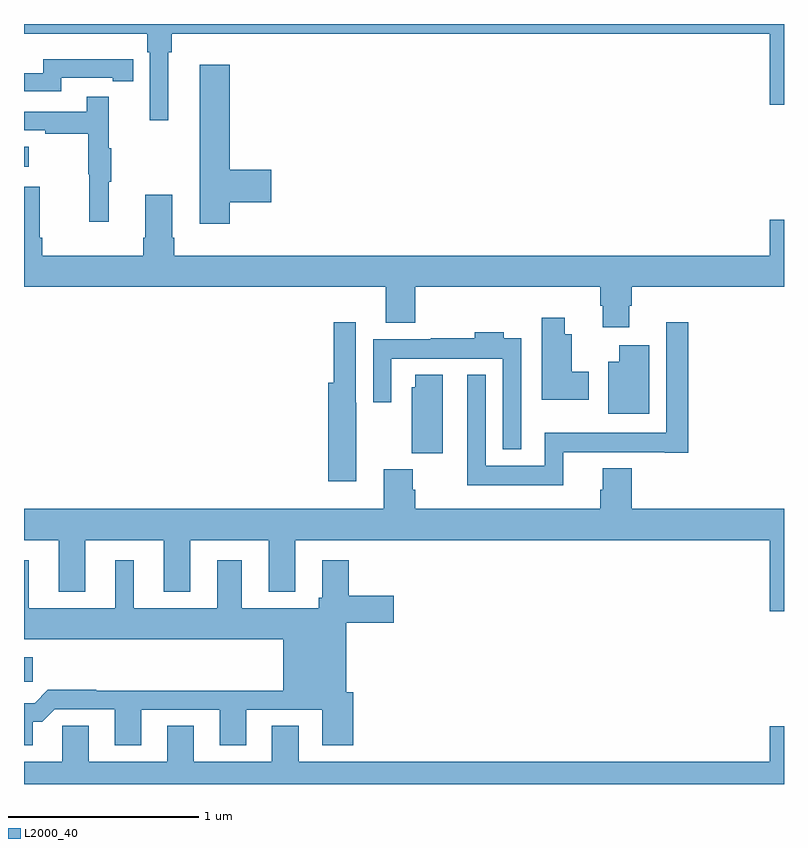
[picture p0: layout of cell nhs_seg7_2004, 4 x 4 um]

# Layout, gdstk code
import gdstk
lib = gdstk.Library(unit=1e-6, precision=1e-09)
def R(c, l, rs):  # rectangles x0, y0, x1, y1
    for r in rs: c.add(gdstk.rectangle(r[:2], r[2:], *l))
def P(c, l, *ps):  # polygons
    for p in ps: c.add(gdstk.Polygon(p, *l))
L2000_40 = (2000, 40)

nhs_seg7_2004 = lib.new_cell('nhs_seg7_2004')
R(nhs_seg7_2004, L2000_40, [(245,998.539,245.047,998.668), (245,1001.249,245.026,1001.353)])
P(nhs_seg7_2004, L2000_40, [(248.924,1001.574),(249,1001.574),(249,1002),(245,1002),(245,1001.948),(245.648,1001.948),(245.648,1001.852),(245.661,1001.852),(245.661,1001.493),(245.758,1001.493),(245.758,1001.852),(245.777,1001.852),(245.777,1001.948),(248.924,1001.948)],
  [(245.196,1001.718),(245.468,1001.718),(245.468,1001.698),(245.576,1001.698),(245.576,1001.814),(245.468,1001.814),(245.468,1001.815),(245.1,1001.815),(245.1,1001.742),(245,1001.742),(245,1001.646),(245.196,1001.646)],
  [(246.083,1001.063),(246.301,1001.063),(246.301,1001.234),(246.083,1001.234),(246.083,1001.785),(245.924,1001.785),(245.924,1000.95),(246.083,1000.95)],
  [(245.447,1001.171),(245.458,1001.171),(245.458,1001.345),(245.447,1001.345),(245.447,1001.617),(245.329,1001.617),(245.329,1001.538),(245,1001.538),(245,1001.442),(245.113,1001.442),(245.113,1001.422),(245.337,1001.422),(245.337,1001.208),(245.344,1001.208),(245.344,1000.959),(245.447,1000.959)],
  [(248.185,1000.518),(248.198,1000.518),(248.198,1000.616),(249,1000.616),(249,1000.969),(248.924,1000.969),(248.924,1000.78),(245.792,1000.78),(245.792,1000.876),(245.779,1000.876),(245.779,1001.101),(245.639,1001.101),(245.639,1000.876),(245.627,1000.876),(245.627,1000.78),(245.096,1000.78),(245.096,1000.876),(245.083,1000.876),(245.083,1001.143),(245,1001.143),(245,1000.616),(246.905,1000.616),(246.905,1000.427),(247.058,1000.427),(247.058,1000.616),(248.033,1000.616),(248.033,1000.518),(248.045,1000.518),(248.045,1000.404),(248.185,1000.404)],
  [(247.972,1000.17),(247.882,1000.17),(247.882,1000.366),(247.846,1000.366),(247.846,1000.453),(247.724,1000.453),(247.724,1000.022),(247.972,1000.022)],
  [(247.838,999.746),(248.372,999.746),(248.372,999.744),(248.495,999.744),(248.495,1000.429),(248.379,1000.429),(248.379,999.85),(247.74,999.85),(247.74,999.676),(247.431,999.676),(247.431,1000.153),(247.334,1000.153),(247.334,999.572),(247.838,999.572)],
  [(246.748,1000.007),(246.747,1000.007),(246.747,1000.429),(246.631,1000.429),(246.631,1000.111),(246.602,1000.111),(246.602,999.594),(246.748,999.594)],
  [(247.617,1000.345),(247.525,1000.345),(247.525,1000.378),(247.373,1000.378),(247.373,1000.345),(247.141,1000.345),(247.141,1000.342),(246.837,1000.342),(246.837,1000.008),(246.933,1000.008),(246.933,1000.238),(247.521,1000.238),(247.521,999.761),(247.617,999.761)],
  [(248.29,1000.309),(248.132,1000.309),(248.132,1000.222),(248.075,1000.222),(248.075,999.95),(248.29,999.95)],
  [(247.204,1000.153),(247.058,1000.153),(247.058,1000.089),(247.04,1000.089),(247.04,999.742),(247.204,999.742)],
  [(249,999.448),(248.198,999.448),(248.198,999.661),(248.045,999.661),(248.045,999.549),(248.033,999.549),(248.033,999.448),(247.058,999.448),(247.058,999.548),(247.045,999.548),(247.045,999.657),(246.893,999.657),(246.893,999.448),(245,999.448),(245,999.284),(245.183,999.284),(245.183,999.011),(245.323,999.011),(245.323,999.284),(245.735,999.284),(245.735,999.011),(245.875,999.011),(245.875,999.284),(246.287,999.284),(246.287,999.011),(246.427,999.011),(246.427,999.284),(248.924,999.284),(248.924,998.91),(249,998.91)],
  [(245.047,998.327),(245.096,998.327),(245.163,998.394),(245.477,998.394),(245.477,998.205),(245.617,998.205),(245.617,998.391),(246.029,998.391),(246.029,998.205),(246.169,998.205),(246.169,998.391),(246.569,998.391),(246.569,998.205),(246.734,998.205),(246.734,998.484),(246.697,998.484),(246.697,998.849),(246.946,998.849),(246.946,998.991),(246.71,998.991),(246.71,999.178),(246.569,999.178),(246.569,998.979),(246.55,998.979),(246.55,998.926),(246.145,998.926),(246.145,999.178),(246.017,999.178),(246.017,998.926),(245.578,998.926),(245.578,999.178),(245.48,999.178),(245.48,998.926),(245.026,998.926),(245.026,999.178),(245,999.178),(245,998.762),(246.365,998.762),(246.365,998.492),(245.381,998.492),(245.381,998.495),(245.126,998.495),(245.056,998.425),(245,998.425),(245,998.205),(245.047,998.205)],
  [(249,998.305),(248.924,998.305),(248.924,998.116),(246.445,998.116),(246.445,998.306),(246.305,998.306),(246.305,998.116),(245.893,998.116),(245.893,998.306),(245.753,998.306),(245.753,998.116),(245.341,998.116),(245.341,998.306),(245.202,998.306),(245.202,998.116),(245,998.116),(245,998),(249,998)])

lib.write_gds('nhs_seg7_2004.gds')
